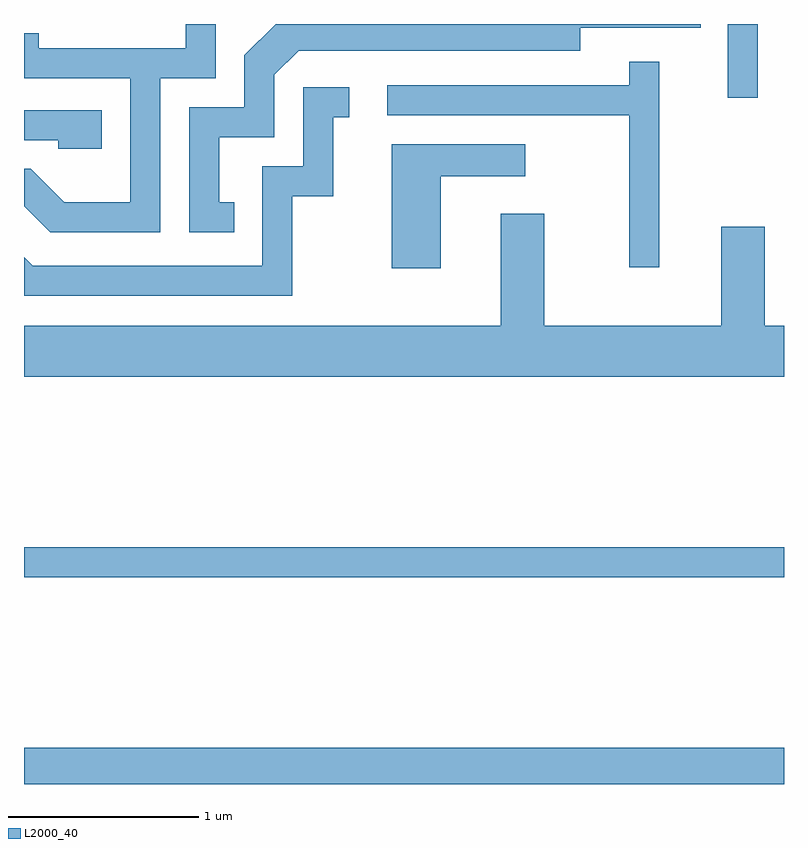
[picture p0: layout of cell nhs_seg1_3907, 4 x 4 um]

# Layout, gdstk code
import gdstk
lib = gdstk.Library(unit=1e-6, precision=1e-09)
def R(c, l, rs):  # rectangles x0, y0, x1, y1
    for r in rs: c.add(gdstk.rectangle(r[:2], r[2:], *l))
def P(c, l, *ps):  # polygons
    for p in ps: c.add(gdstk.Polygon(p, *l))
L2000_40 = (2000, 40)

nhs_seg1_3907 = lib.new_cell('nhs_seg1_3907')
R(nhs_seg1_3907, L2000_40, [(303.611,839.712,307.611,839.904), (303.611,840.801,307.611,840.959), (307.316,843.323,307.474,843.712)])
P(nhs_seg1_3907, L2000_40, [(304.329,843.426),(304.619,843.426),(304.619,843.712),(304.461,843.712),(304.461,843.584),(303.689,843.584),(303.689,843.663),(303.611,843.663),(303.611,843.426),(304.171,843.426),(304.171,842.774),(303.822,842.774),(303.647,842.949),(303.611,842.949),(303.611,842.754),(303.749,842.616),(304.329,842.616)],
  [(304.718,842.774),(304.639,842.774),(304.639,843.116),(304.929,843.116),(304.929,843.444),(305.057,843.571),(306.539,843.571),(306.539,843.691),(307.173,843.691),(307.173,843.712),(304.937,843.712),(304.771,843.547),(304.771,843.274),(304.481,843.274),(304.481,842.616),(304.718,842.616)],
  [(306.954,843.513),(306.796,843.513),(306.796,843.389),(305.523,843.389),(305.523,843.231),(306.796,843.231),(306.796,842.433),(306.954,842.433)],
  [(305.024,842.806),(305.239,842.806),(305.239,843.221),(305.323,843.221),(305.323,843.379),(305.081,843.379),(305.081,842.964),(304.866,842.964),(304.866,842.439),(303.657,842.439),(303.611,842.485),(303.611,842.281),(305.024,842.281)],
  [(304.019,843.259),(303.611,843.259),(303.611,843.101),(303.791,843.101),(303.791,843.056),(304.019,843.056)],
  [(305.804,842.911),(306.248,842.911),(306.248,843.079),(305.546,843.079),(305.546,842.426),(305.804,842.426)],
  [(307.611,842.124),(307.509,842.124),(307.509,842.644),(307.281,842.644),(307.281,842.124),(306.349,842.124),(306.349,842.714),(306.121,842.714),(306.121,842.124),(303.611,842.124),(303.611,841.856),(307.611,841.856)])

lib.write_gds('nhs_seg1_3907.gds')
